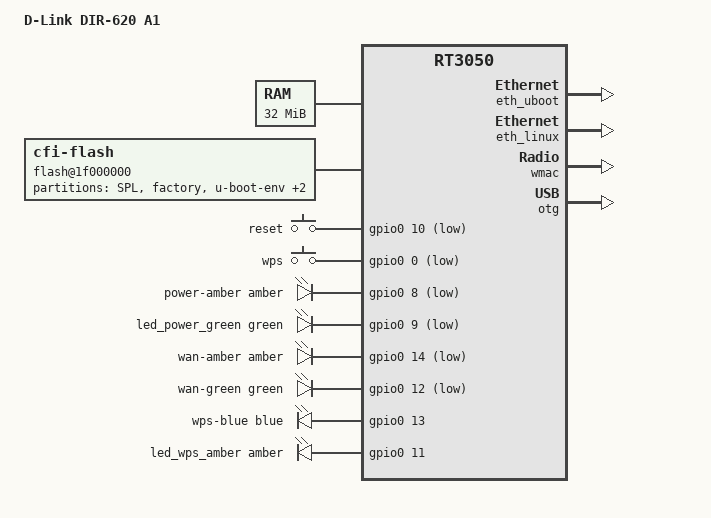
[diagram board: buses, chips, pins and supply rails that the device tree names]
// SPDX-License-Identifier: GPL-2.0

#include "rt3050.dtsi"

#include <dt-bindings/gpio/gpio.h>
#include <dt-bindings/input/input.h>
#include <dt-bindings/leds/common.h>

/ {
	compatible = "dlink,dir-620-a1", "ralink,rt3050-soc";
	model = "D-Link DIR-620 A1";

	aliases {
		serial0 = &uartlite;
		ethernet0 = &eth_uboot; /* U-Boot uses this to find primary eth */
		led-boot = &led_power_green;
		led-failsafe = &led_wps_amber;
		led-running = &led_power_green;
		led-upgrade = &led_power_green;
	};

	memory@0 {
		device_type = "memory";
		reg = <0x0 0x2000000>;
	};

	flash@1f000000 {
		compatible = "cfi-flash";
		reg = <0x1f000000 0x800000>;
		bank-width = <2>;
		device-width = <2>;

		partitions {
			compatible = "fixed-partitions";
			#address-cells = <1>;
			#size-cells = <1>;

		partition@0 {
			label = "SPL";
			reg = <0x0 0x5E00>;
			read-only;
		};

		factory: partition@5E00 {
			label = "factory";
			reg = <0x5E00 0x200>;
			read-only;

			nvmem-layout {
				compatible = "fixed-layout";
				#address-cells = <1>;
				#size-cells = <1>;

				eeprom_factory_0: eeprom@0 {
					reg = <0x0 0x200>;
				};

				macaddr_factory_4: macaddr@4 {
					reg = <0x4 0x6>;
				};
			};
		};

		partition@6000 {
			label = "u-boot-env";
			reg = <0x6000 0x2000>;
		};

		partition@8000 {
			label = "u-boot";
			reg = <0x8000 0x28000>;
			read-only;
		};

#if CONFIG_DIR620_FIRMWARE_OFFSET == 0x30000
		partition@30000 {
#else
		partition@80000 {
#endif
			compatible = "denx,uimage";
			label = "firmware";
			reg = <CONFIG_DIR620_FIRMWARE_OFFSET CONFIG_DIR620_FIRMWARE_SIZE>;
		};
	};
	};

	keys {
		compatible = "gpio-keys";

		reset {
			label = "reset";
			gpios = <&gpio0 10 GPIO_ACTIVE_LOW>;
			linux,code = <KEY_RESTART>;
		};

		wps {
			label = "wps";
			gpios = <&gpio0 0 GPIO_ACTIVE_LOW>;
			linux,code = <KEY_WPS_BUTTON>;
		};
	};

	leds {
		compatible = "gpio-leds";

		power-amber {
			function = LED_FUNCTION_POWER;
			color = <LED_COLOR_ID_AMBER>;
			gpios = <&gpio0 8 GPIO_ACTIVE_LOW>;
		};

		led_power_green: power-green {
			function = LED_FUNCTION_POWER;
			color = <LED_COLOR_ID_GREEN>;
			gpios = <&gpio0 9 GPIO_ACTIVE_LOW>;
		};

		wan-amber {
			function = LED_FUNCTION_WAN;
			color = <LED_COLOR_ID_AMBER>;
			gpios = <&gpio0 14 GPIO_ACTIVE_LOW>;
		};

		wan-green {
			function = LED_FUNCTION_WAN;
			color = <LED_COLOR_ID_GREEN>;
			gpios = <&gpio0 12 GPIO_ACTIVE_LOW>;
		};

		wps-blue {
			function = LED_FUNCTION_WPS;
			color = <LED_COLOR_ID_BLUE>;
			gpios = <&gpio0 13 GPIO_ACTIVE_HIGH>;
		};

		led_wps_amber: wps-amber {
			function = LED_FUNCTION_WPS;
			color = <LED_COLOR_ID_AMBER>;
			gpios = <&gpio0 11 GPIO_ACTIVE_HIGH>;
		};
	};

	chosen {
		bootargs = "console=ttyS0,57600 rootfstype=squashfs,jffs2";
		stdout-path = "serial0:57600n8";
	};

	options {
		u-boot {
			compatible = "u-boot,config";
			boot-led = <&led_power_green>;
		};
	};

	eth_uboot: eth_uboot@10100000 { /* U-Boot */
		compatible = "u-boot,rt3052-eth";
		reg = <0x10100000 0x10000
		       0x10110000 0x8000>;
		resets = <&sysc 21>, <&sysc 23>;
		reset-names = "fe", "esw";
		nvmem-cells = <&macaddr_factory_4>;
		nvmem-cell-names = "mac-address";
		mediatek,poll-link-phy = <0>;
	};
};

&eth_linux { /* Linux */
	nvmem-cells = <&macaddr_factory_4>;
	nvmem-cell-names = "mac-address";
	status = "okay";
};

&esw { /* Linux */
	/*
	 * mediatek,portmap: bitmask where 1 = LAN, 0 = WAN
	 *   Port  0 (PHY0)  1  LAN
	 *   Port  1 (PHY1)  1  LAN
	 *   Port  2 (PHY2)  1  LAN
	 *   Port  3 (PHY3)  0  WAN
	 *   Port  4 (PHY4)  0  WAN
	 *   Port  5 (CPU)   1  LAN
	 *                   --  ---
	 *              0x27 = 0010_0111
	 */
	mediatek,portmap = <0x27>;
};

&wmac { /* shared */
	status = "okay";
	nvmem-cells = <&eeprom_factory_0>;
	nvmem-cell-names = "eeprom";
};

&otg { /* shared */
	status = "okay";
};

&uartlite { /* shared — clock-frequency is U-Boot-specific, harmless to Linux */
	clock-frequency = <128000000>;
};
